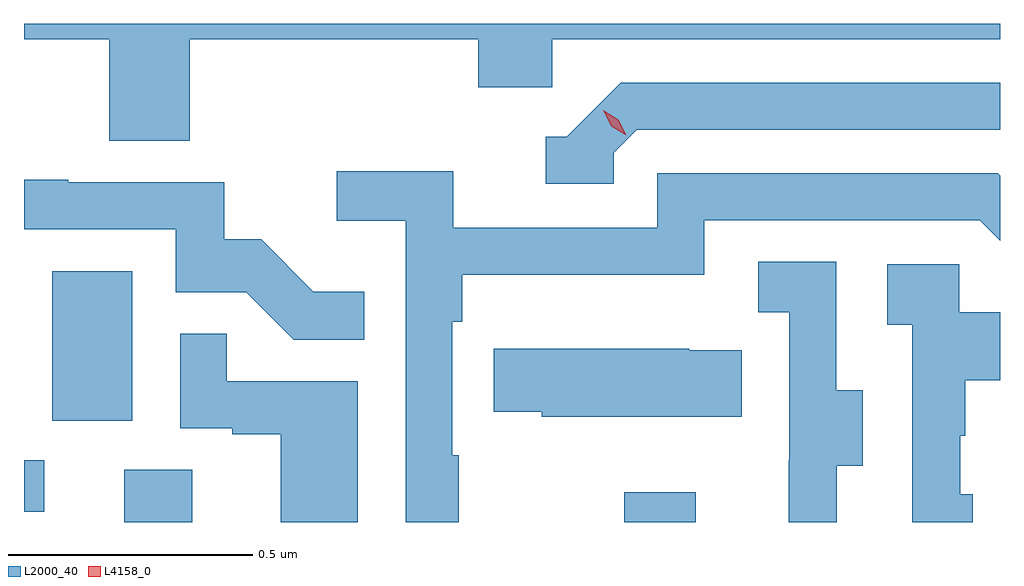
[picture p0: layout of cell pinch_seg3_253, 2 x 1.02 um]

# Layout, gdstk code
import gdstk
lib = gdstk.Library(unit=1e-6, precision=1e-09)
def R(c, l, rs):  # rectangles x0, y0, x1, y1
    for r in rs: c.add(gdstk.rectangle(r[:2], r[2:], *l))
def P(c, l, *ps):  # polygons
    for p in ps: c.add(gdstk.Polygon(p, *l))
L2000_40 = (2000, 40)
L4158_0 = (4158, 0)

pinch_seg3_253 = lib.new_cell('pinch_seg3_253')
R(pinch_seg3_253, L2000_40, [(897.179,747.878,897.319,747.986), (898.204,747.878,898.351,747.94), (896.974,747.9,897.016,748.005), (897.032,748.086,897.196,748.393)])
P(pinch_seg3_253, L2000_40, [(897.314,748.868),(897.905,748.868),(897.905,748.77),(898.056,748.77),(898.056,748.868),(898.974,748.868),(898.974,748.9),(896.974,748.9),(896.974,748.868),(897.149,748.868),(897.149,748.66),(897.314,748.66)],
  [(898.182,748.635),(898.23,748.683),(898.974,748.683),(898.974,748.779),(898.197,748.779),(898.086,748.668),(898.043,748.668),(898.043,748.572),(898.182,748.572)],
  [(897.865,748.016),(897.852,748.016),(897.852,748.289),(897.872,748.289),(897.872,748.385),(898.368,748.385),(898.368,748.497),(898.932,748.497),(898.974,748.455),(898.974,748.588),(898.969,748.593),(898.272,748.593),(898.272,748.482),(897.854,748.482),(897.854,748.598),(897.615,748.598),(897.615,748.496),(897.756,748.496),(897.756,747.878),(897.865,747.878)],
  [(897.671,748.351),(897.567,748.351),(897.46,748.458),(897.384,748.458),(897.384,748.575),(897.065,748.575),(897.065,748.58),(896.974,748.58),(896.974,748.479),(897.285,748.479),(897.285,748.35),(897.429,748.35),(897.527,748.252),(897.671,748.252)],
  [(898.639,747.994),(898.693,747.994),(898.693,748.149),(898.638,748.149),(898.638,748.412),(898.479,748.412),(898.479,748.309),(898.542,748.309),(898.542,748.005),(898.541,748.005),(898.541,747.878),(898.639,747.878)],
  [(898.918,747.936),(898.893,747.936),(898.893,748.055),(898.903,748.055),(898.903,748.169),(898.974,748.169),(898.974,748.309),(898.89,748.309),(898.89,748.407),(898.743,748.407),(898.743,748.283),(898.794,748.283),(898.794,747.878),(898.918,747.878)],
  [(897.658,748.167),(897.389,748.167),(897.389,748.265),(897.294,748.265),(897.294,748.071),(897.401,748.071),(897.401,748.059),(897.5,748.059),(897.5,747.878),(897.658,747.878)],
  [(898.445,748.231),(898.337,748.231),(898.337,748.234),(897.937,748.234),(897.937,748.105),(898.035,748.105),(898.035,748.094),(898.445,748.094)])
P(pinch_seg3_253, L4158_0, [(898.208,748.671),(898.177,748.69),(898.161,748.722),(898.161,748.723),(898.161,748.723),(898.192,748.703),(898.208,748.671),(898.208,748.671)])

lib.write_gds('pinch_seg3_253.gds')
